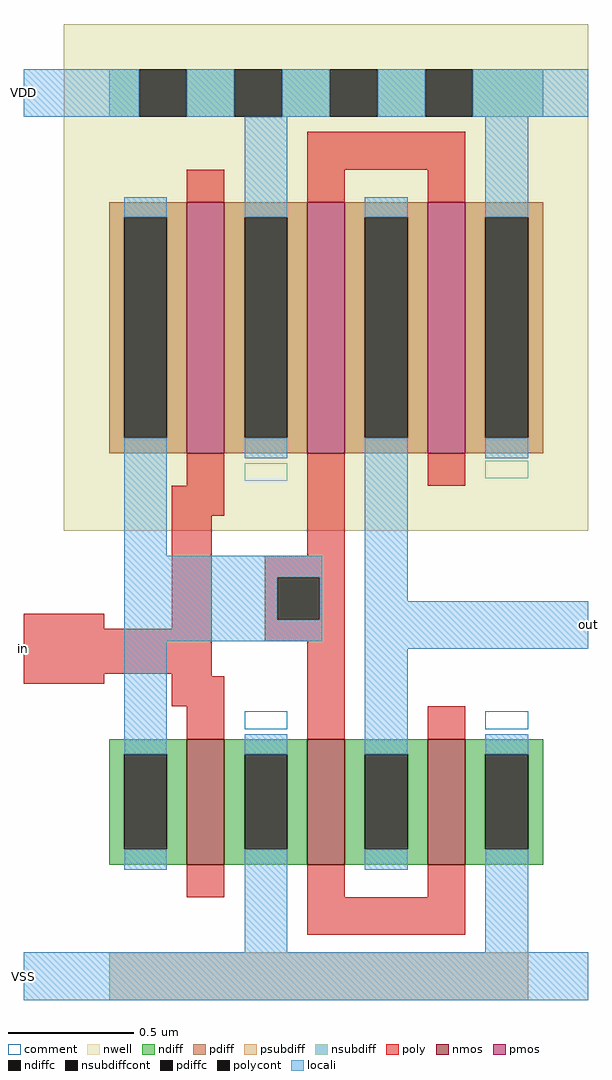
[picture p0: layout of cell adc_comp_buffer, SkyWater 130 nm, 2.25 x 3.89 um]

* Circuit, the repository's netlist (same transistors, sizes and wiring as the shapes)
* NGSPICE file created from adc_comp_buffer.ext - technology: sky130A

.subckt adc_comp_buffer in out VDD VSS
X0 VSS a_26_n218# out VSS sky130_fd_pr__nfet_01v8 ad=3.2e+11p pd=3.28e+06u as=1.65e+11p ps=1.66e+06u w=500000u l=150000u
X1 VSS in a_26_n218# VSS sky130_fd_pr__nfet_01v8 ad=0p pd=0u as=1.55e+11p ps=1.62e+06u w=500000u l=150000u
X2 out a_26_n218# VDD VDD sky130_fd_pr__pfet_01v8 ad=3.3e+11p pd=2.66e+06u as=6.4e+11p ps=5.28e+06u w=1e+06u l=150000u
X3 VDD a_26_n218# out VDD sky130_fd_pr__pfet_01v8 ad=0p pd=0u as=0p ps=0u w=1e+06u l=150000u
X4 out a_26_n218# VSS VSS sky130_fd_pr__nfet_01v8 ad=0p pd=0u as=0p ps=0u w=500000u l=150000u
X5 VDD in a_26_n218# VDD sky130_fd_pr__pfet_01v8 ad=0p pd=0u as=3.1e+11p ps=2.62e+06u w=1e+06u l=150000u
.ends

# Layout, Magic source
magic
tech sky130A
magscale 1 2
<< nwell >>
rect -10 48 408 452
<< nmos >>
rect 88 -218 118 -118
rect 184 -218 214 -118
rect 280 -218 310 -118
<< pmos >>
rect 88 110 118 310
rect 184 110 214 310
rect 280 110 310 310
<< ndiff >>
rect 26 -130 88 -118
rect 26 -206 38 -130
rect 72 -206 88 -130
rect 26 -218 88 -206
rect 118 -130 184 -118
rect 118 -206 134 -130
rect 168 -206 184 -130
rect 118 -218 184 -206
rect 214 -130 280 -118
rect 214 -206 230 -130
rect 264 -206 280 -130
rect 214 -218 280 -206
rect 310 -130 372 -118
rect 310 -206 326 -130
rect 360 -206 372 -130
rect 310 -218 372 -206
<< pdiff >>
rect 26 298 88 310
rect 26 122 38 298
rect 72 122 88 298
rect 26 110 88 122
rect 118 298 184 310
rect 118 122 134 298
rect 168 122 184 298
rect 118 110 184 122
rect 214 298 280 310
rect 214 122 230 298
rect 264 122 280 298
rect 214 110 280 122
rect 310 298 372 310
rect 310 122 326 298
rect 360 122 372 298
rect 310 110 372 122
<< ndiffc >>
rect 38 -206 72 -130
rect 134 -206 168 -130
rect 230 -206 264 -130
rect 326 -206 360 -130
<< pdiffc >>
rect 38 122 72 298
rect 134 122 168 298
rect 230 122 264 298
rect 326 122 360 298
<< psubdiff >>
rect 26 -326 360 -288
<< nsubdiff >>
rect 26 378 50 416
rect 88 378 126 416
rect 164 378 202 416
rect 240 378 278 416
rect 316 378 372 416
<< nsubdiffcont >>
rect 50 378 88 416
rect 126 378 164 416
rect 202 378 240 416
rect 278 378 316 416
<< poly >>
rect 184 336 310 366
rect 88 310 118 336
rect 184 310 214 336
rect 280 310 310 336
rect 88 84 118 110
rect 76 60 118 84
rect -42 -30 22 -18
rect 76 -30 108 60
rect 184 28 214 110
rect 280 84 310 110
rect -42 -66 108 -30
rect 150 11 214 28
rect 150 -23 160 11
rect 194 -23 214 11
rect 150 -40 214 -23
rect -42 -74 22 -66
rect 76 -68 108 -66
rect 76 -92 118 -68
rect 88 -118 118 -92
rect 184 -118 214 -40
rect 280 -118 310 -92
rect 88 -244 118 -218
rect 184 -244 214 -218
rect 280 -244 310 -218
rect 184 -274 310 -244
<< polycont >>
rect 160 -23 194 11
<< locali >>
rect -42 378 50 416
rect 88 378 126 416
rect 164 378 202 416
rect 240 378 278 416
rect 316 378 408 416
rect 38 298 72 314
rect 38 28 72 122
rect 134 298 168 378
rect 134 106 168 122
rect 230 298 264 314
rect 38 11 196 28
rect 38 -23 160 11
rect 194 -23 196 11
rect 38 -40 196 -23
rect 230 -8 264 122
rect 326 298 360 378
rect 326 106 360 122
rect 38 -130 72 -40
rect 230 -46 408 -8
rect 38 -222 72 -206
rect 134 -130 168 -114
rect 134 -288 168 -206
rect 230 -130 264 -46
rect 230 -222 264 -206
rect 326 -130 360 -114
rect 326 -288 360 -206
rect -42 -326 408 -288
<< comment >>
rect 134 88 168 102
rect 326 90 360 104
rect 134 -110 168 -96
rect 326 -110 360 -96
<< labels >>
rlabel locali -42 -326 -42 -288 7 VSS
port 2 w
rlabel locali -42 378 -42 416 7 VDD
port 1 w
rlabel locali 408 -46 408 -8 3 out
port 4 e
rlabel poly -42 -74 -42 -18 7 in
port 5 w
<< end >>
